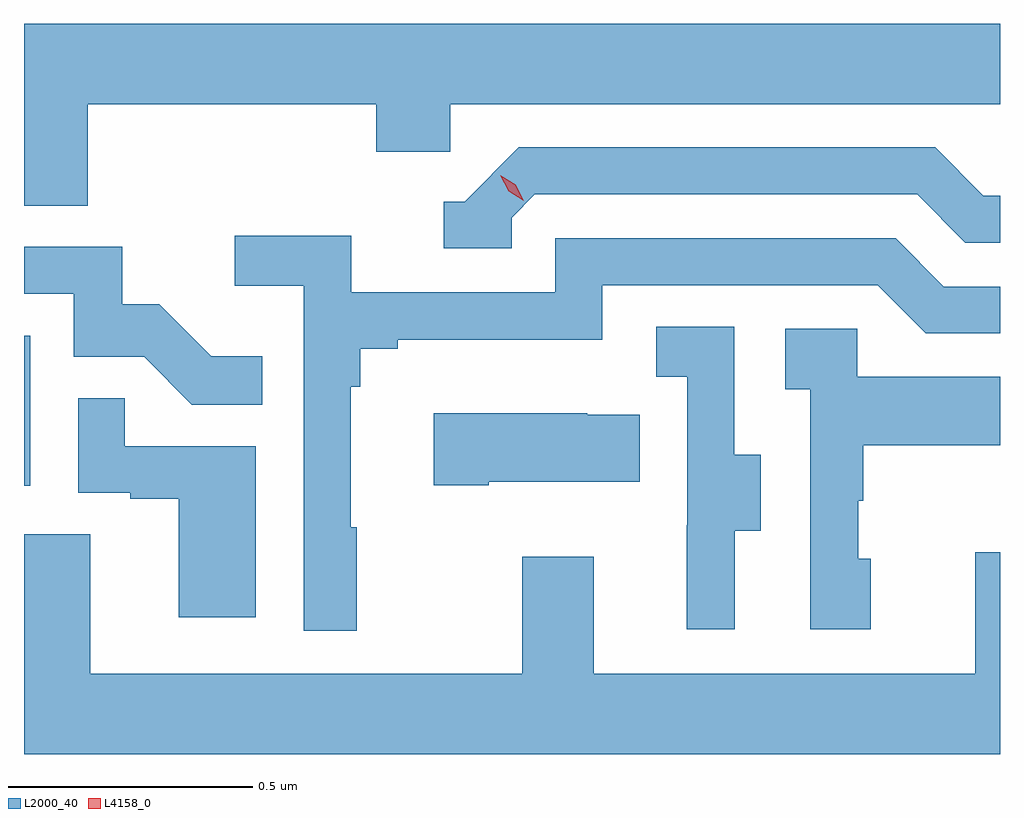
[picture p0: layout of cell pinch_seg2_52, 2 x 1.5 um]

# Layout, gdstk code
import gdstk
lib = gdstk.Library(unit=1e-6, precision=1e-09)
def R(c, l, rs):  # rectangles x0, y0, x1, y1
    for r in rs: c.add(gdstk.rectangle(r[:2], r[2:], *l))
def P(c, l, *ps):  # polygons
    for p in ps: c.add(gdstk.Polygon(p, *l))
L2000_40 = (2000, 40)
L4158_0 = (4158, 0)

pinch_seg2_52 = lib.new_cell('pinch_seg2_52')
R(pinch_seg2_52, L2000_40, [(1052.361,662.838,1052.374,663.145)])
P(pinch_seg2_52, L2000_40, [(1052.492,663.62),(1053.083,663.62),(1053.083,663.522),(1053.234,663.522),(1053.234,663.62),(1054.361,663.62),(1054.361,663.784),(1052.361,663.784),(1052.361,663.412),(1052.492,663.412)],
  [(1053.36,663.387),(1053.408,663.435),(1054.191,663.435),(1054.29,663.336),(1054.361,663.336),(1054.361,663.432),(1054.327,663.432),(1054.228,663.531),(1053.375,663.531),(1053.264,663.42),(1053.221,663.42),(1053.221,663.324),(1053.36,663.324)],
  [(1053.043,662.753),(1053.031,662.753),(1053.031,663.041),(1053.05,663.041),(1053.05,663.118),(1053.127,663.118),(1053.127,663.137),(1053.546,663.137),(1053.546,663.249),(1054.11,663.249),(1054.209,663.15),(1054.361,663.15),(1054.361,663.246),(1054.246,663.246),(1054.147,663.345),(1053.45,663.345),(1053.45,663.234),(1053.032,663.234),(1053.032,663.35),(1052.793,663.35),(1052.793,663.248),(1052.934,663.248),(1052.934,662.541),(1053.043,662.541)],
  [(1052.849,663.103),(1052.745,663.103),(1052.638,663.21),(1052.562,663.21),(1052.562,663.327),(1052.361,663.327),(1052.361,663.231),(1052.463,663.231),(1052.463,663.102),(1052.607,663.102),(1052.705,663.004),(1052.849,663.004)],
  [(1053.817,662.746),(1053.871,662.746),(1053.871,662.901),(1053.816,662.901),(1053.816,663.164),(1053.657,663.164),(1053.657,663.061),(1053.72,663.061),(1053.72,662.757),(1053.719,662.757),(1053.719,662.544),(1053.817,662.544)],
  [(1054.096,662.688),(1054.071,662.688),(1054.071,662.807),(1054.081,662.807),(1054.081,662.921),(1054.361,662.921),(1054.361,663.061),(1054.068,663.061),(1054.068,663.159),(1053.921,663.159),(1053.921,663.035),(1053.972,663.035),(1053.972,662.544),(1054.096,662.544)],
  [(1052.836,662.919),(1052.567,662.919),(1052.567,663.017),(1052.472,663.017),(1052.472,662.823),(1052.579,662.823),(1052.579,662.811),(1052.678,662.811),(1052.678,662.568),(1052.836,662.568)],
  [(1053.313,662.846),(1053.623,662.846),(1053.623,662.983),(1053.515,662.983),(1053.515,662.986),(1053.201,662.986),(1053.201,662.839),(1053.313,662.839)],
  [(1054.361,662.701),(1054.31,662.701),(1054.31,662.452),(1053.529,662.452),(1053.529,662.692),(1053.382,662.692),(1053.382,662.452),(1052.497,662.452),(1052.497,662.738),(1052.361,662.738),(1052.361,662.288),(1054.361,662.288)])
P(pinch_seg2_52, L4158_0, [(1053.385,663.422),(1053.354,663.441),(1053.337,663.474),(1053.337,663.474),(1053.337,663.474),(1053.369,663.455),(1053.385,663.422),(1053.385,663.422)])

lib.write_gds('pinch_seg2_52.gds')
